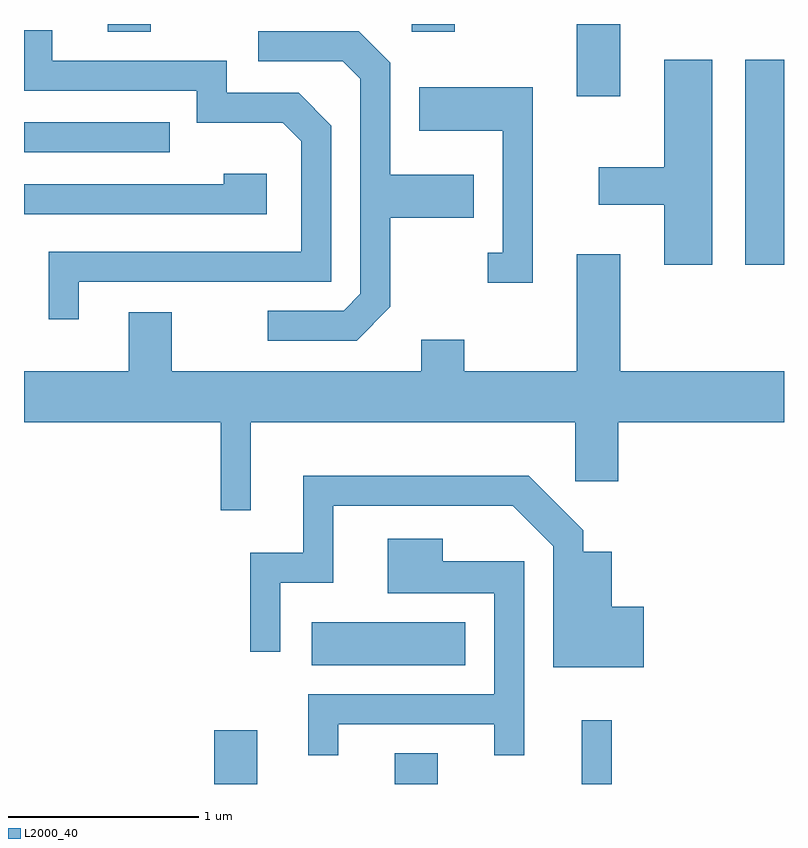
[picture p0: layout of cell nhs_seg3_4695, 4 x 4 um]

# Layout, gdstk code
import gdstk
lib = gdstk.Library(unit=1e-6, precision=1e-09)
def R(c, l, rs):  # rectangles x0, y0, x1, y1
    for r in rs: c.add(gdstk.rectangle(r[:2], r[2:], *l))
def P(c, l, *ps):  # polygons
    for p in ps: c.add(gdstk.Polygon(p, *l))
L2000_40 = (2000, 40)

nhs_seg3_4695 = lib.new_cell('nhs_seg3_4695')
R(nhs_seg3_4695, L2000_40, [(324.611,1121.892,324.839,1122.174), (325.561,1121.892,325.789,1122.054), (326.546,1121.892,326.704,1122.228), (325.126,1122.516,325.934,1122.744), (327.406,1124.626,327.611,1125.704), (323.611,1125.216,324.378,1125.374), (326.521,1125.511,326.749,1125.892), (324.051,1125.851,324.279,1125.892), (325.651,1125.851,325.879,1125.892)])
P(nhs_seg3_4695, L2000_40, [(323.899,1124.536),(325.229,1124.536),(325.229,1125.357),(325.057,1125.529),(324.679,1125.529),(324.679,1125.699),(323.759,1125.699),(323.759,1125.859),(323.611,1125.859),(323.611,1125.541),(324.521,1125.541),(324.521,1125.371),(324.974,1125.371),(325.071,1125.274),(325.071,1124.694),(323.741,1124.694),(323.741,1124.338),(323.899,1124.338)],
  [(325.539,1124.404),(325.539,1124.871),(325.979,1124.871),(325.979,1125.099),(325.539,1125.099),(325.539,1125.687),(325.372,1125.854),(324.843,1125.854),(324.843,1125.696),(325.289,1125.696),(325.381,1125.604),(325.381,1124.472),(325.294,1124.384),(324.893,1124.384),(324.893,1124.226),(325.362,1124.226)],
  [(327.234,1125.704),(326.981,1125.704),(326.981,1125.139),(326.636,1125.139),(326.636,1124.941),(326.981,1124.941),(326.981,1124.626),(327.234,1124.626)],
  [(326.289,1125.559),(325.691,1125.559),(325.691,1125.331),(326.131,1125.331),(326.131,1124.689),(326.053,1124.689),(326.053,1124.531),(326.289,1124.531)],
  [(324.889,1125.104),(324.661,1125.104),(324.661,1125.049),(323.611,1125.049),(323.611,1124.891),(324.889,1124.891)],
  [(324.804,1123.796),(326.511,1123.796),(326.511,1123.486),(326.739,1123.486),(326.739,1123.796),(327.611,1123.796),(327.611,1124.064),(326.749,1124.064),(326.749,1124.679),(326.521,1124.679),(326.521,1124.064),(325.929,1124.064),(325.929,1124.229),(325.701,1124.229),(325.701,1124.064),(324.389,1124.064),(324.389,1124.374),(324.161,1124.374),(324.161,1124.064),(323.611,1124.064),(323.611,1123.796),(324.646,1123.796),(324.646,1123.333),(324.804,1123.333)],
  [(326.874,1122.824),(326.704,1122.824),(326.704,1123.114),(326.554,1123.114),(326.554,1123.227),(326.267,1123.514),(325.081,1123.514),(325.081,1123.109),(324.801,1123.109),(324.801,1122.588),(324.959,1122.588),(324.959,1122.951),(325.239,1122.951),(325.239,1123.356),(326.184,1123.356),(326.396,1123.144),(326.396,1122.506),(326.874,1122.506)],
  [(325.264,1122.206),(326.086,1122.206),(326.086,1122.043),(326.244,1122.043),(326.244,1123.064),(325.814,1123.064),(325.814,1123.184),(325.526,1123.184),(325.526,1122.896),(326.086,1122.896),(326.086,1122.364),(325.106,1122.364),(325.106,1122.043),(325.264,1122.043)])

lib.write_gds('nhs_seg3_4695.gds')
